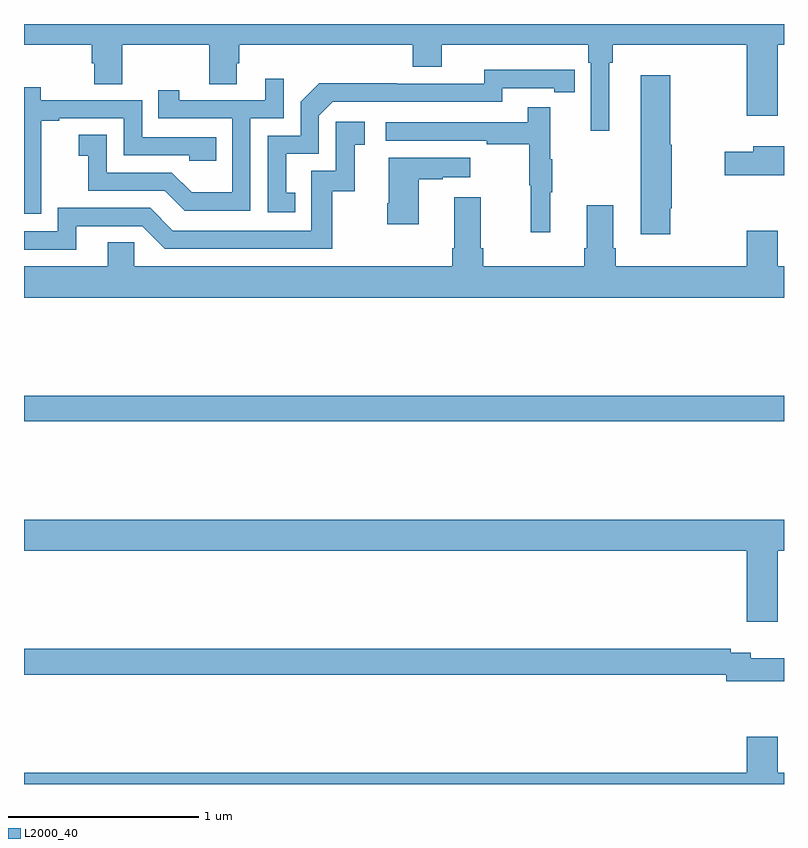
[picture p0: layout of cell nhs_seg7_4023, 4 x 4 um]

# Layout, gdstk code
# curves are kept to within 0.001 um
import gdstk
lib = gdstk.Library(unit=1e-6, precision=1e-09)
def R(c, l, rs):  # rectangles x0, y0, x1, y1
    for r in rs: c.add(gdstk.rectangle(r[:2], r[2:], *l))
def P(c, l, *ps):  # polygons
    for p in ps: c.add(gdstk.Polygon(p, *l))
L2000_40 = (2000, 40)

nhs_seg7_4023 = lib.new_cell('nhs_seg7_4023')
R(nhs_seg7_4023, L2000_40, [(365,1055.908,369,1056.044)])
P(nhs_seg7_4023, L2000_40, [(368.08,1057.796),(368.099,1057.796),(368.099,1057.892),(368.804,1057.892),(368.804,1057.518),(368.968,1057.518),(368.968,1057.892),(369,1057.892),(369,1058),(365,1058),(365,1057.892),(365.357,1057.892),(365.357,1057.794),(365.369,1057.794),(365.369,1057.684),(365.517,1057.684),(365.517,1057.892),(365.974,1057.892),(365.974,1057.684),(366.121,1057.684),(366.121,1057.794),(366.134,1057.794),(366.134,1057.892),(367.046,1057.892),(367.046,1057.775),(367.198,1057.775),(367.198,1057.892),(367.97,1057.892),(367.97,1057.796),(367.983,1057.796),(367.983,1057.437),(368.08,1057.437)],
  [(366.428,1057.113),(366.379,1057.113),(366.379,1057.317),(366.552,1057.317),(366.552,1057.518),(366.624,1057.59),(367.518,1057.59),(367.518,1057.662),(367.79,1057.662),(367.79,1057.642),(367.898,1057.642),(367.898,1057.758),(367.422,1057.759),(367.422,1057.686),(366.962,1057.686),(366.962,1057.688),(366.554,1057.688),(366.456,1057.59),(366.456,1057.413),(366.282,1057.413),(366.282,1057.008),(366.428,1057.008)],
  [(368.4,1057.029),(368.41,1057.029),(368.41,1057.365),(368.4,1057.365),(368.4,1057.729),(368.246,1057.729),(368.246,1056.894),(368.4,1056.894)],
  [(366.192,1057.503),(366.366,1057.503),(366.366,1057.711),(366.269,1057.711),(366.269,1057.599),(365.818,1057.599),(365.818,1057.651),(365.707,1057.651),(365.707,1057.503),(366.096,1057.503),(366.096,1057.114),(365.882,1057.114),(365.778,1057.218),(365.436,1057.218),(365.436,1057.417),(365.289,1057.417),(365.289,1057.307),(365.338,1057.307),(365.338,1057.122),(365.741,1057.122),(365.846,1057.017),(366.192,1057.017)],
  [(365.091,1057.207),(365.09,1057.207),(365.09,1057.491),(365.185,1057.491),(365.185,1057.503),(365.526,1057.503),(365.526,1057.308),(365.871,1057.308),(365.871,1057.281),(366.011,1057.281),(366.011,1057.404),(365.622,1057.404),(365.622,1057.599),(365.088,1057.599),(365.088,1057.668),(365,1057.668),(365,1057.001),(365.091,1057.001)],
  [(367.769,1057.115),(367.78,1057.115),(367.78,1057.289),(367.769,1057.289),(367.769,1057.561),(367.651,1057.561),(367.651,1057.482),(366.903,1057.482),(366.903,1057.386),(367.435,1057.386),(367.435,1057.366),(367.659,1057.366),(367.659,1057.152),(367.666,1057.152),(367.666,1056.903),(367.769,1056.903)],
  [(365.275,1056.936),(365.622,1056.936),(365.742,1056.816),(366.622,1056.816),(366.622,1057.119),(366.74,1057.119),(366.74,1057.365),(366.793,1057.365),(366.793,1057.486),(366.642,1057.486),(366.642,1057.227),(366.513,1057.227),(366.513,1056.912),(365.784,1056.912),(365.664,1057.032),(365.178,1057.032),(365.178,1056.909),(365,1056.909),(365,1056.813),(365.275,1056.813)],
  [(369,1057.357),(368.837,1057.357),(368.837,1057.327),(368.688,1057.327),(368.688,1057.205),(369,1057.205)],
  [(367.078,1057.183),(367.205,1057.183),(367.205,1057.193),(367.348,1057.193),(367.348,1057.297),(366.92,1057.297),(366.92,1057.057),(366.913,1057.057),(366.913,1056.945),(367.078,1056.945)],
  [(369,1056.724),(368.968,1056.724),(368.968,1056.913),(368.804,1056.913),(368.804,1056.724),(368.114,1056.724),(368.114,1056.82),(368.101,1056.82),(368.101,1057.045),(367.961,1057.045),(367.961,1056.82),(367.949,1056.82),(367.949,1056.724),(367.418,1056.724),(367.418,1056.82),(367.405,1056.82),(367.405,1057.087),(367.265,1057.087),(367.265,1056.82),(367.253,1056.82),(367.253,1056.724),(365.58,1056.724),(365.58,1056.851),(365.441,1056.851),(365.441,1056.724),(365,1056.724),(365,1056.56),(369,1056.56)],
  [(368.968,1055.228),(369,1055.228),(369,1055.392),(365,1055.392),(365,1055.228),(368.804,1055.228),(368.804,1054.854),(368.968,1054.854)],
  [(369,1054.663),(368.824,1054.663),(368.824,1054.692),(368.72,1054.692),(368.72,1054.712),(365,1054.712),(365,1054.576),(368.696,1054.576),(368.696,1054.541),(369,1054.541)],
  [(369,1054.06),(368.968,1054.06),(368.968,1054.249),(368.804,1054.249),(368.804,1054.06),(365,1054.06),(365,1054),(369,1054)])

lib.write_gds('nhs_seg7_4023.gds')
